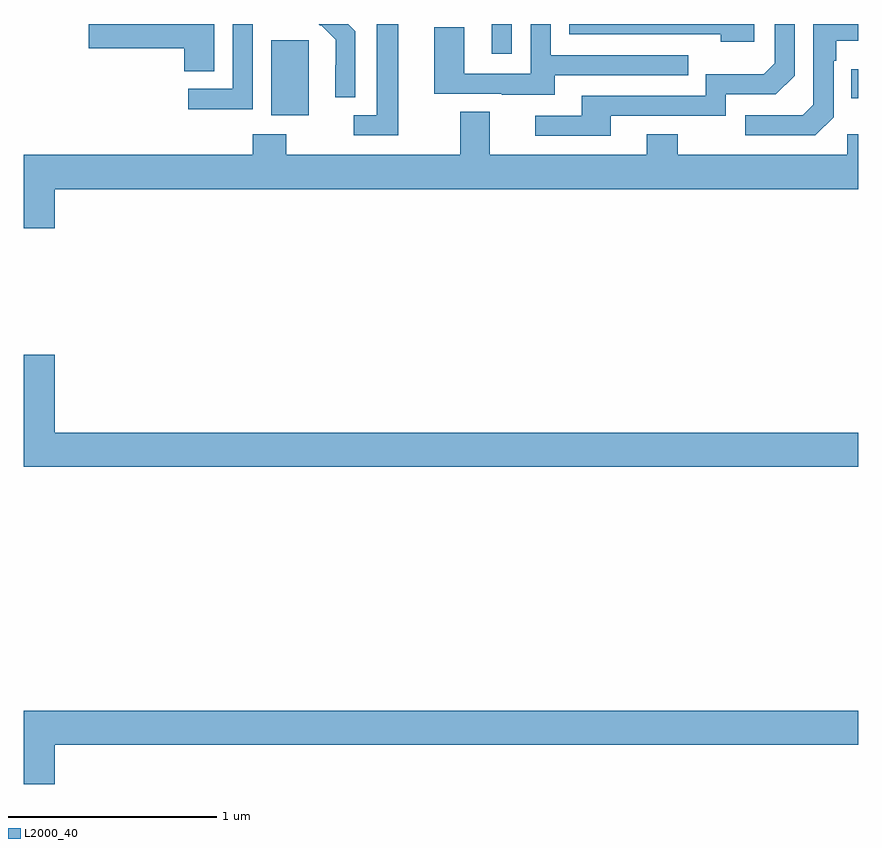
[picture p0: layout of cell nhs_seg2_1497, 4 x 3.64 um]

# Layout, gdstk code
import gdstk
lib = gdstk.Library(unit=1e-6, precision=1e-09)
def R(c, l, rs):  # rectangles x0, y0, x1, y1
    for r in rs: c.add(gdstk.rectangle(r[:2], r[2:], *l))
def P(c, l, *ps):  # polygons
    for p in ps: c.add(gdstk.Polygon(p, *l))
L2000_40 = (2000, 40)

nhs_seg2_1497 = lib.new_cell('nhs_seg2_1497')
R(nhs_seg2_1497, L2000_40, [(190.187,609.362,190.366,609.723), (192.967,609.443,193,609.583), (191.243,609.657,191.34,609.8)])
P(nhs_seg2_1497, L2000_40, [(191.815,609.36),(192.366,609.36),(192.366,609.462),(192.606,609.462),(192.696,609.552),(192.696,609.8),(192.6,609.8),(192.6,609.612),(192.547,609.559),(192.27,609.559),(192.27,609.456),(191.675,609.456),(191.675,609.36),(191.451,609.36),(191.451,609.264),(191.815,609.264)],
  [(191.545,609.555),(192.185,609.555),(192.185,609.651),(191.526,609.651),(191.526,609.8),(191.43,609.8),(191.43,609.561),(191.112,609.561),(191.112,609.785),(190.967,609.785),(190.967,609.465),(191.291,609.465),(191.291,609.461),(191.545,609.461)],
  [(189.913,609.8),(189.312,609.8),(189.312,609.683),(189.77,609.683),(189.77,609.574),(189.913,609.574)],
  [(190.098,609.8),(190.002,609.8),(190.002,609.489),(189.789,609.489),(189.789,609.391),(190.098,609.391)],
  [(190.59,609.766),(190.556,609.8),(190.414,609.8),(190.422,609.792),(190.425,609.795),(190.496,609.725),(190.496,609.602),(190.494,609.602),(190.494,609.448),(190.59,609.448)],
  [(192.502,609.8),(191.616,609.8),(191.616,609.75),(192.341,609.75),(192.341,609.716),(192.502,609.716)],
  [(192.882,609.354),(192.882,609.623),(192.895,609.623),(192.895,609.719),(193,609.719),(193,609.8),(192.786,609.8),(192.786,609.414),(192.735,609.363),(192.459,609.363),(192.459,609.267),(192.795,609.267)],
  [(190.795,609.8),(190.691,609.8),(190.691,609.363),(190.581,609.363),(190.581,609.267),(190.795,609.267)],
  [(193,609.271),(192.948,609.271),(192.948,609.172),(192.135,609.172),(192.135,609.271),(191.987,609.271),(191.987,609.172),(191.233,609.172),(191.233,609.38),(191.093,609.38),(191.093,609.172),(190.257,609.172),(190.257,609.271),(190.097,609.271),(190.097,609.172),(189,609.172),(189,608.82),(189.148,608.82),(189.148,609.008),(193,609.008)],
  [(193,607.84),(189.148,607.84),(189.148,608.215),(189,608.215),(189,607.676),(193,607.676)],
  [(189.148,606.344),(193,606.344),(193,606.508),(189,606.508),(189,606.156),(189.148,606.156)])

lib.write_gds('nhs_seg2_1497.gds')
